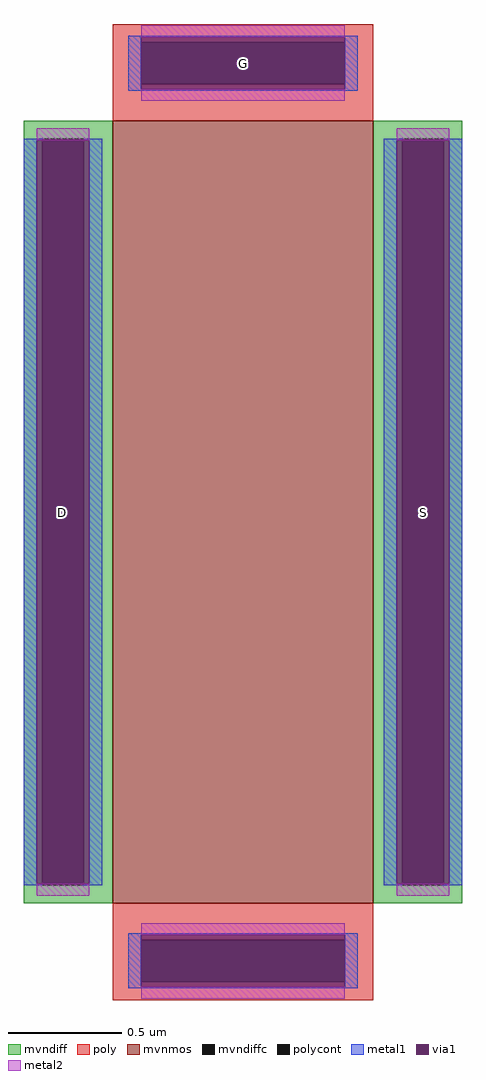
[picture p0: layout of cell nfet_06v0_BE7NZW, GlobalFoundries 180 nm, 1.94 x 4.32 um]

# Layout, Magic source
magic
tech gf180mcuD
magscale 3 26
<< mvnmos >>
rect -100 -300 100 300
<< mvndiff >>
rect -168 286 -100 300
rect -168 -286 -154 286
rect -122 -286 -100 286
rect -168 -300 -100 -286
rect 100 286 168 300
rect 100 -286 122 286
rect 154 -286 168 286
rect 100 -300 168 -286
<< mvndiffc >>
rect -154 -286 -122 286
rect 122 -286 154 286
<< poly >>
rect -100 360 100 374
rect -100 328 -78 360
rect 78 328 100 360
rect -100 300 100 328
rect -100 -328 100 -300
rect -100 -360 -78 -328
rect 78 -360 100 -328
rect -100 -374 100 -360
<< polycont >>
rect -78 328 78 360
rect -78 -360 78 -328
<< metal1 >>
rect -88 364 88 365
rect -88 324 -78 364
rect 78 324 88 364
rect -88 323 88 324
rect -168 285 -154 286
rect -122 285 -108 286
rect -168 -285 -158 285
rect -118 -285 -108 285
rect -168 -286 -154 -285
rect -122 -286 -108 -285
rect 108 285 122 286
rect 154 285 168 286
rect 108 -285 118 285
rect 158 -285 168 285
rect 108 -286 122 -285
rect 154 -286 168 -285
rect -88 -324 88 -323
rect -88 -364 -78 -324
rect 78 -364 88 -324
rect -88 -365 88 -364
<< via1 >>
rect -78 360 78 364
rect -78 328 78 360
rect -78 324 78 328
rect -158 -285 -154 285
rect -154 -285 -122 285
rect -122 -285 -118 285
rect 118 -285 122 285
rect 122 -285 154 285
rect 154 -285 158 285
rect -78 -328 78 -324
rect -78 -360 78 -328
rect -78 -364 78 -360
<< metal2 >>
rect -78 364 78 373
rect -78 315 78 324
rect -158 285 -118 294
rect -158 -294 -118 -285
rect 118 285 158 294
rect 118 -294 158 -285
rect -78 -324 78 -315
rect -78 -373 78 -364
<< labels >>
rlabel mvndiffc -138 0 -138 0 0 D
port 16 nsew
rlabel mvndiffc 138 0 138 0 0 S
port 17 nsew
rlabel polycont 0 344 0 344 0 G
port 18 nsew
<< properties >>
string gencell nfet_05v0
string library gf180mcu
string parameters w 3.0 l 1.0 m 1 ng 1 diffcov 100 polycov 100 guard 0 glc 1 grc 1 gtc 1 gbc 1 tbcov 100 rlcov 100 topc 1 botc 1 poverlap 0 doverlap 1 lmin 0.45 wmin 0.15 class mosfet compatible {nfet_05v0 nfet_06v0} full_metal 1 conn_gates 0 gate_ring 0 doports 1 viasrc 100 viadrn 100 viagate 100 ccols 1 viagb 0 viagr 0 viagl 0 viagt 0
<< end >>
